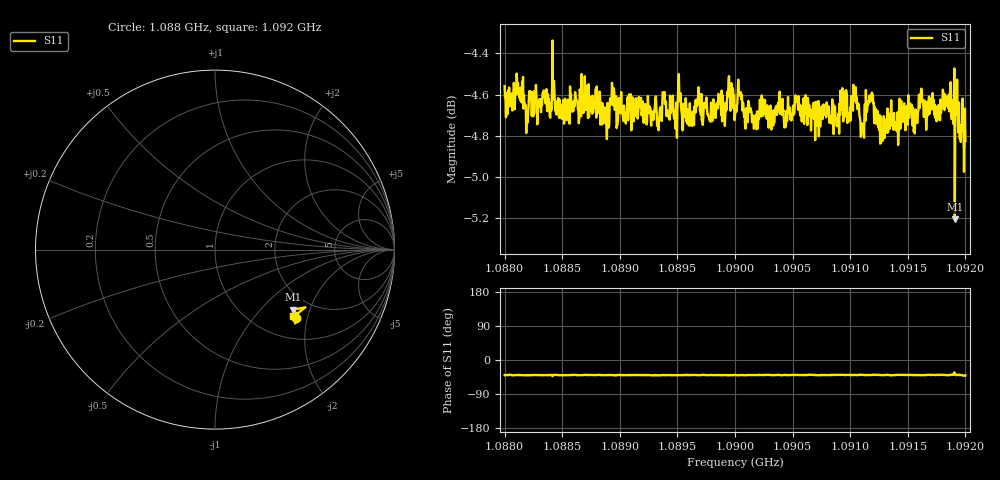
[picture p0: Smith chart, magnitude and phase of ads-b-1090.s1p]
! Calibrated averaged scanner-service zoom
# Hz S RI R 50
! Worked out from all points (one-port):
!   1001 points, 1.088 GHz to 1.092 GHz, reference 50 ohm
!   lowest |S11| = -5.2 dB at 1.09191 GHz (marker M1), VSWR 3.44, Z = 81.2 - j77.7 ohm
!   |S11| at or under -10 dB: nowhere
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1.088e9  0.4531 -0.3804
1.088124e9  0.4567 -0.375
1.088192e9  0.4464 -0.3755
1.088432e9  0.4561 -0.3745
1.0885e9  0.4435 -0.3751
1.088708e9  0.4565 -0.3765
1.088868e9  0.4465 -0.3775
1.089e9  0.4538 -0.3702
1.0895e9  0.446 -0.3769
1.089632e9  0.4501 -0.371
1.08968e9  0.4509 -0.3782
1.08972e9  0.4498 -0.3644
1.089956e9  0.4524 -0.3796
1.09e9  0.4491 -0.3704
1.0905e9  0.4494 -0.3698
1.091e9  0.4532 -0.3693
1.0911e9  0.4489 -0.3665
1.091192e9  0.4532 -0.3729
1.09128e9  0.442 -0.3709
1.0915e9  0.4464 -0.3687
1.091612e9  0.4496 -0.3784
1.091768e9  0.4493 -0.3752
1.091852e9  0.4501 -0.3726
1.091876e9  0.4537 -0.365
1.091892e9  0.4587 -0.3663
1.091908e9  0.4358 -0.3341
1.091932e9  0.4505 -0.3724
1.092e9  0.4363 -0.3726
